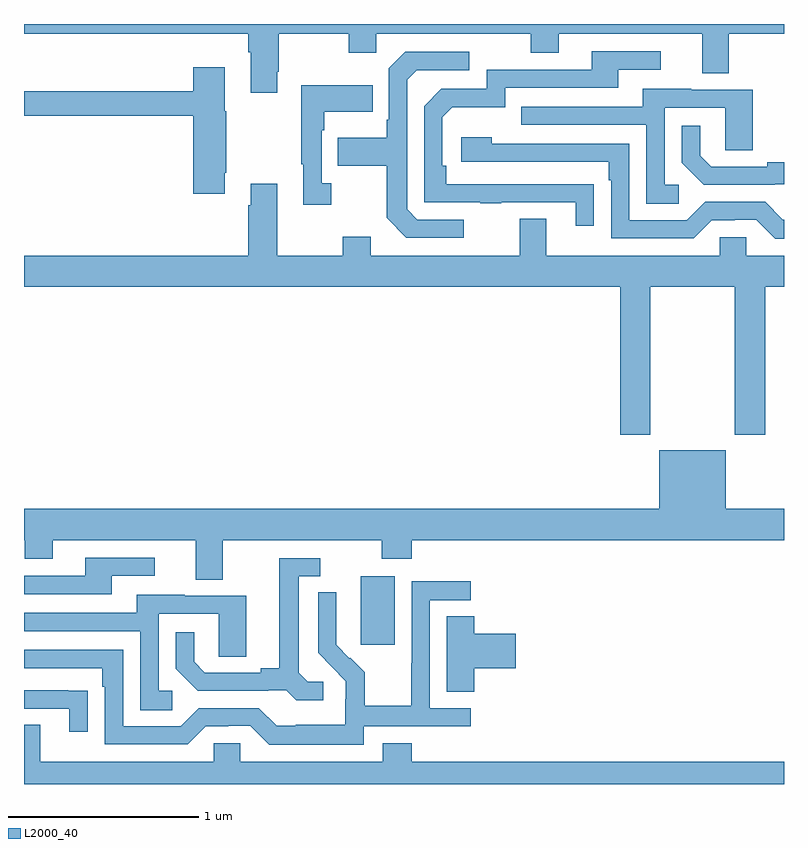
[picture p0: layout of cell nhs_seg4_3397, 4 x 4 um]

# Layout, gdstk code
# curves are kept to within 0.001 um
import gdstk
lib = gdstk.Library(unit=1e-6, precision=1e-09)
def R(c, l, rs):  # rectangles x0, y0, x1, y1
    for r in rs: c.add(gdstk.rectangle(r[:2], r[2:], *l))
def P(c, l, *ps):  # polygons
    for p in ps: c.add(gdstk.Polygon(p, *l))
L2000_40 = (2000, 40)

nhs_seg4_3397 = lib.new_cell('nhs_seg4_3397')
R(nhs_seg4_3397, L2000_40, [(292.772,765.633,292.951,765.994)])
P(nhs_seg4_3397, L2000_40, [(291,768.848),(292.181,768.848),(292.181,768.752),(292.193,768.752),(292.193,768.537),(292.333,768.537),(292.333,768.649),(292.341,768.649),(292.341,768.848),(292.708,768.848),(292.708,768.749),(292.854,768.749),(292.854,768.848),(293.668,768.848),(293.668,768.749),(293.815,768.749),(293.815,768.848),(294.569,768.848),(294.569,768.64),(294.709,768.64),(294.709,768.848),(295,768.848),(295,768.9),(291,768.9)],
  [(293.999,768.056),(293.222,768.057),(293.222,768.154),(293.202,768.154),(293.202,768.408),(293.255,768.461),(293.532,768.461),(293.532,768.564),(294.127,768.564),(294.127,768.66),(294.352,768.66),(294.352,768.756),(293.987,768.756),(293.987,768.66),(293.436,768.66),(293.436,768.558),(293.196,768.558),(293.106,768.468),(293.106,767.961),(293.401,767.961),(293.401,767.956),(293.513,767.956),(293.513,767.961),(293.903,767.961),(293.903,767.838),(293.999,767.838)],
  [(293.314,767.871),(293.07,767.871),(293.016,767.925),(293.016,768.606),(293.067,768.657),(293.344,768.657),(293.344,768.753),(293.007,768.753),(292.92,768.666),(292.92,768.397),(292.908,768.397),(292.908,768.301),(292.651,768.301),(292.651,768.154),(292.908,768.154),(292.908,767.881),(293.013,767.775),(293.314,767.775)],
  [(292.057,768.118),(292.065,768.118),(292.065,768.441),(292.057,768.441),(292.057,768.673),(291.89,768.673),(291.89,768.547),(291,768.547),(291,768.418),(291.89,768.418),(291.89,768.006),(292.057,768.006)],
  [(292.618,768.062),(292.566,768.062),(292.566,768.341),(292.579,768.341),(292.579,768.437),(292.835,768.437),(292.835,768.577),(292.458,768.577),(292.458,768.161),(292.469,768.161),(292.469,767.949),(292.618,767.949)],
  [(294.445,768.054),(294.372,768.054),(294.372,768.459),(294.69,768.459),(294.69,768.235),(294.835,768.235),(294.835,768.555),(294.511,768.555),(294.511,768.559),(294.257,768.559),(294.257,768.465),(293.617,768.465),(293.617,768.369),(294.276,768.369),(294.276,767.953),(294.445,767.953)],
  [(294.95,768.057),(295,768.057),(295,768.173),(294.911,768.173),(294.911,768.15),(294.616,768.15),(294.559,768.207),(294.559,768.364),(294.462,768.364),(294.462,768.17),(294.578,768.054),(294.95,768.054)],
  [(295,767.871),(294.993,767.871),(294.9,767.964),(294.585,767.964),(294.489,767.868),(294.186,767.868),(294.186,768.27),(293.462,768.27),(293.462,768.304),(293.301,768.304),(293.301,768.174),(294.077,768.174),(294.077,768.077),(294.09,768.077),(294.09,767.772),(294.525,767.772),(294.621,767.868),(294.74,767.868),(294.74,767.871),(294.855,767.871),(294.955,767.771),(295,767.771)],
  [(294.742,766.737),(294.902,766.737),(294.902,767.516),(295,767.516),(295,767.68),(294.801,767.68),(294.801,767.778),(294.663,767.778),(294.663,767.68),(293.749,767.68),(293.749,767.875),(293.609,767.875),(293.609,767.68),(292.825,767.68),(292.825,767.779),(292.678,767.779),(292.678,767.68),(292.333,767.68),(292.333,768.058),(292.193,768.058),(292.193,767.945),(292.181,767.945),(292.181,767.68),(291,767.68),(291,767.516),(294.137,767.516),(294.137,766.737),(294.297,766.737),(294.297,767.516),(294.742,767.516)],
  [(292.045,766.184),(292.882,766.184),(292.882,766.085),(293.042,766.085),(293.042,766.184),(295,766.184),(295,766.348),(294.694,766.348),(294.694,766.657),(294.344,766.657),(294.344,766.348),(291,766.348),(291,766.184),(291.004,766.184),(291.004,766.085),(291.151,766.085),(291.151,766.184),(291.905,766.184),(291.905,765.976),(292.045,765.976)],
  [(291.463,765.996),(291.688,765.996),(291.688,766.092),(291.323,766.092),(291.323,765.996),(291,765.996),(291,765.9),(291.463,765.9)],
  [(292.576,765.438),(292.494,765.438),(292.447,765.485),(292.447,765.993),(292.558,765.993),(292.558,766.089),(292.343,766.089),(292.343,765.509),(292.247,765.509),(292.247,765.486),(291.952,765.486),(291.895,765.543),(291.895,765.7),(291.798,765.7),(291.798,765.506),(291.914,765.39),(292.286,765.39),(292.286,765.393),(292.38,765.393),(292.432,765.341),(292.576,765.341)],
  [(292.788,765.204),(293.35,765.204),(293.35,765.3),(293.136,765.3),(293.136,765.867),(293.35,765.867),(293.35,765.966),(293.04,765.966),(293.04,765.536),(293.038,765.536),(293.038,765.313),(292.793,765.313),(292.793,765.487),(292.716,765.564),(292.713,765.561),(292.643,765.632),(292.644,765.908),(292.548,765.908),(292.548,765.59),(292.694,765.442),(292.694,765.345),(292.692,765.345),(292.692,765.211),(292.429,765.211),(292.429,765.207),(292.329,765.207),(292.236,765.3),(291.921,765.3),(291.825,765.204),(291.522,765.204),(291.522,765.606),(291,765.606),(291,765.51),(291.413,765.51),(291.413,765.413),(291.426,765.413),(291.426,765.108),(291.861,765.108),(291.957,765.204),(292.076,765.204),(292.076,765.207),(292.191,765.207),(292.291,765.107),(292.788,765.107)],
  [(291.781,765.39),(291.708,765.39),(291.708,765.795),(292.026,765.795),(292.026,765.571),(292.171,765.571),(292.171,765.891),(291.847,765.891),(291.847,765.895),(291.593,765.895),(291.593,765.801),(291,765.801),(291,765.705),(291.612,765.705),(291.612,765.289),(291.781,765.289)],
  [(293.369,765.509),(293.587,765.509),(293.587,765.692),(293.369,765.692),(293.369,765.782),(293.225,765.782),(293.225,765.385),(293.369,765.385)],
  [(291.335,765.392),(291.233,765.392),(291.233,765.393),(291,765.393),(291,765.297),(291.239,765.297),(291.239,765.174),(291.335,765.174)],
  [(295,765.016),(293.042,765.016),(293.042,765.115),(292.889,765.115),(292.889,765.016),(292.137,765.016),(292.137,765.114),(291.999,765.114),(291.999,765.016),(291.085,765.016),(291.085,765.211),(291,765.211),(291,764.9),(295,764.9)])

lib.write_gds('nhs_seg4_3397.gds')
